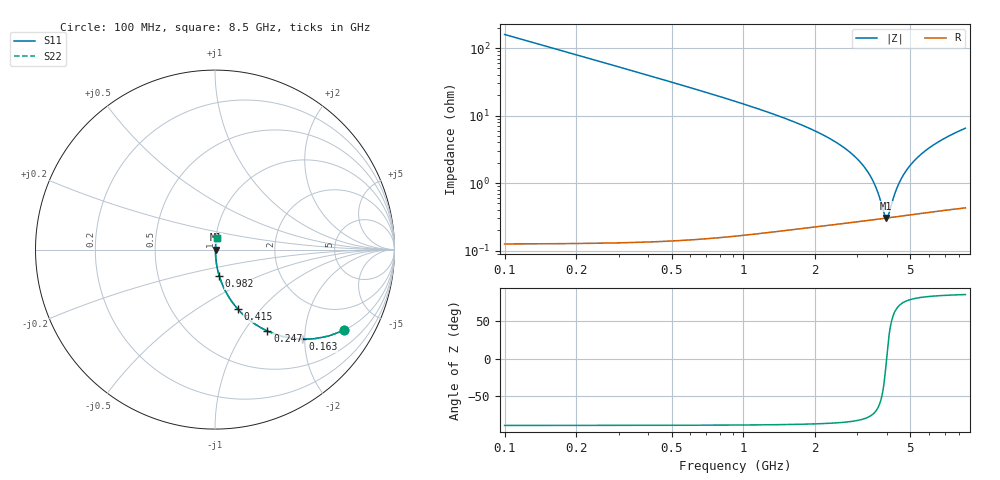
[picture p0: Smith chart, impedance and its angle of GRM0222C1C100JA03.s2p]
!Murata Part Number: GRM0222C1C100JA03
!These Parameters are Measured in Series Mode Connection
!Data Generated on Mar 30, 2021
!  o--ll--o
!Port1  Port2
!  o------o
!Operation Temp=25[degC], DC Bias Voltage=0[V]
!Freq. Start=100[MHz] Stop=9[GHz] 401[Steps]
# Hz S RI R 50
!Freq.(Hz) S11(Real) S11(Imag) S21(Real) S21(Imag) S12(Real) S12(Imag) S22(Real) S22(Imag)
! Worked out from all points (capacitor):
!   401 points, 100 MHz to 8.5 GHz, reference 50 ohm
!   read as one part in series: C = 10 pF near 142 MHz
!   lowest |Z| = 304 mohm at 3.964 GHz (marker M1)
!   series resonance near 3.977 GHz, so ESL is about 160 pH
!   S11 on the Smith chart (normalised r, x): 100 MHz: 1.00, -3.18; 163 MHz: 1.00, -1.95; 247 MHz: 1.00, -1.28; 415 MHz: 1.00, -0.76; 982 MHz: 1.00, -0.30; 8.5 GHz: 1.01, +0.13
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1e8  0.7165 -0.4503  0.2835 0.4503  0.2835 0.4503  0.7165 -0.4503
1.63e8  0.4872 -0.4992  0.5128 0.4992  0.5128 0.4992  0.4872 -0.4992
2.47e8  0.292 -0.4537  0.708 0.4537  0.708 0.4537  0.292 -0.4537
3.31e8  0.1862 -0.3879  0.8138 0.3879  0.8138 0.3879  0.1862 -0.3879
4.15e8  0.1265 -0.3306  0.8735 0.3306  0.8735 0.3306  0.1265 -0.3306
6.67e8  0.0521 -0.2191  0.9479 0.2191  0.9479 0.2191  0.0521 -0.2191
9.82e8  0.024 -0.1478  0.976 0.1478  0.976 0.1478  0.024 -0.1478
1.507e9  0.00995 -0.0888  0.9901 0.0888  0.9901 0.0888  0.00995 -0.0888
2.914e9  0.00325 -0.0248  0.9968 0.0248  0.9968 0.0248  0.00325 -0.0248
3.229e9  0.00302 -0.0165  0.997 0.0165  0.997 0.0165  0.00302 -0.0165
3.481e9  0.00296 -0.0105  0.997 0.0105  0.997 0.0105  0.00296 -0.0105
3.67e9  0.00295 -0.0063  0.997 0.0063  0.997 0.0063  0.00295 -0.0063
3.901e9  0.003 -0.0015  0.997 0.0015  0.997 0.0015  0.003 -0.0015
3.964e9  0.00302 -0.000249  0.997 0.000249  0.997 0.000249  0.00302 -0.000249
4.048e9  0.00305 0.00139  0.9969 -0.00139  0.9969 -0.00139  0.00305 0.00139
4.3e9  0.00317 0.00612  0.9968 -0.00612  0.9968 -0.00612  0.00317 0.00612
4.531e9  0.00332 0.0102  0.9967 -0.0102  0.9967 -0.0102  0.00332 0.0102
4.846e9  0.00356 0.0155  0.9964 -0.0155  0.9964 -0.0155  0.00356 0.0155
5.224e9  0.0039 0.0215  0.9961 -0.0215  0.9961 -0.0215  0.0039 0.0215
5.707e9  0.00441 0.0287  0.9956 -0.0287  0.9956 -0.0287  0.00441 0.0287
7.114e9  0.00623 0.0475  0.9938 -0.0475  0.9938 -0.0475  0.00623 0.0475
8.5e9  0.00841 0.0641  0.9916 -0.0641  0.9916 -0.0641  0.00841 0.0641
